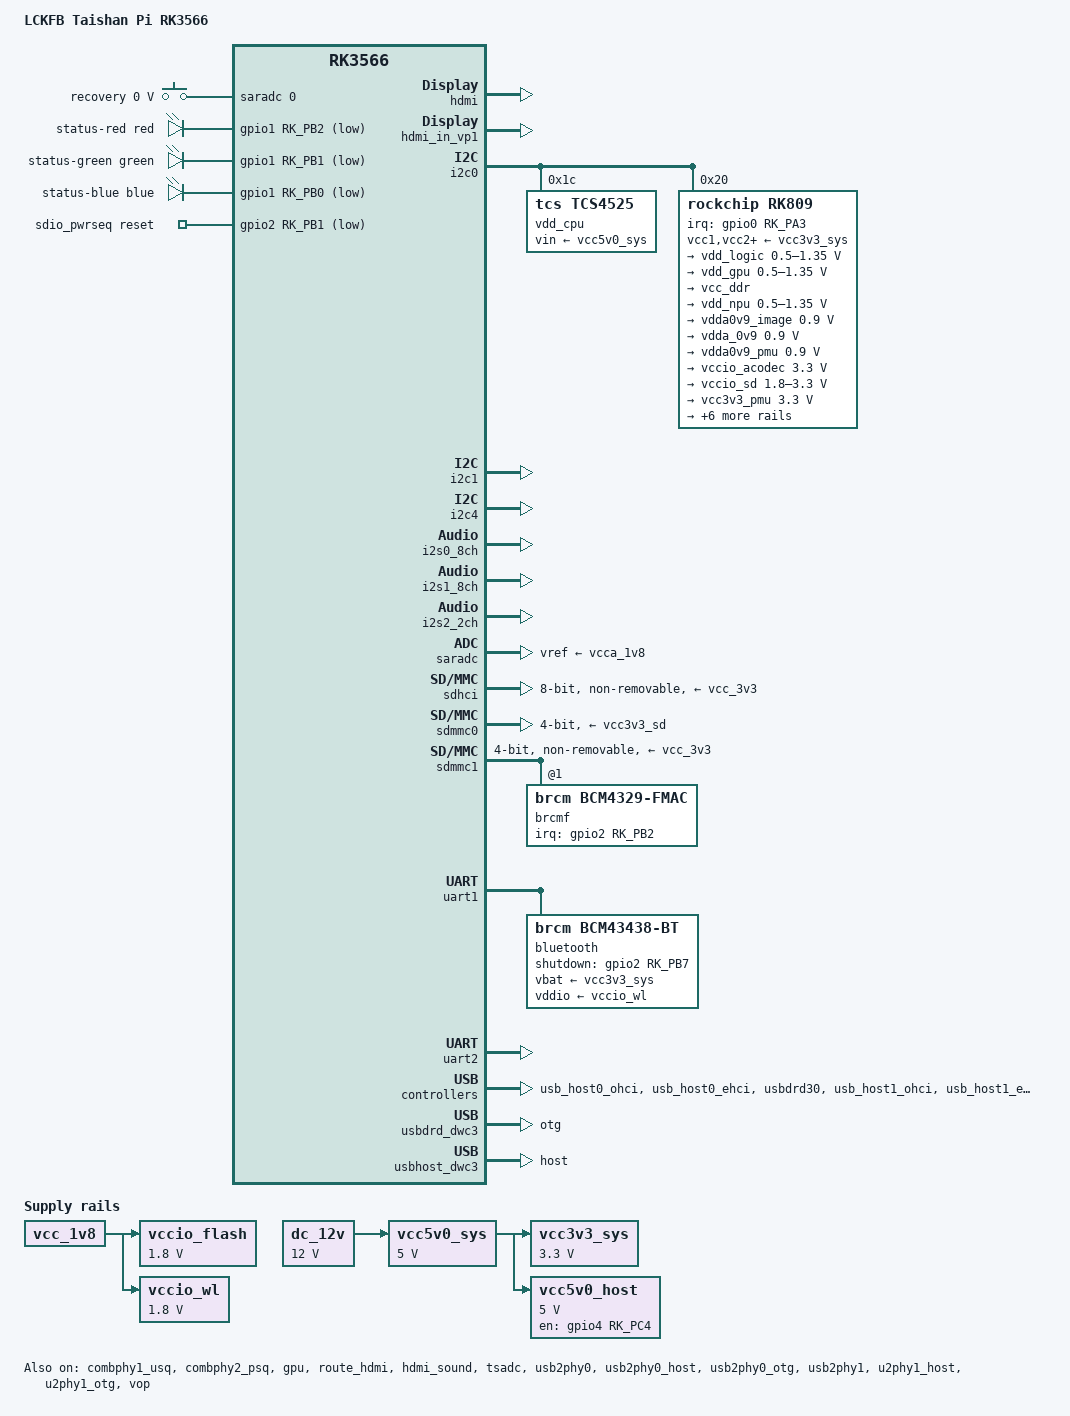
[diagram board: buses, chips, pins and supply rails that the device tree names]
// SPDX-License-Identifier: (GPL-2.0+ OR MIT)
/*
 * LCKFB Taishan Pi RK3566 (立创·泰山派 RK3566)
 *
 * 板级设备树，运行在 rockchip-linux/kernel develop-6.1（厂商内核）之上。
 *
 * 来源与改动说明：
 *   - 板级信息（PMIC/电源域/SD/eMMC/USB/HDMI/AP6212/按键/LED）取自
 *     上游设备树 rk3566-lckfb-tspi.dts（Junhao Xie <bigfoot@classfun.cn>，
 *     已合入 mainline）；
 *   - 为适配厂商 6.1 内核，按厂商 dtsi 的写法改写：combphy1/2 →
 *     combphy1_usq/combphy2_psq，USB3 控制器 → usbdrd30/usbhost30，
 *     HDMI 走厂商的 route_hdmi + hdmi_in_vpN 路由，去掉 mainline 专有的
 *     hdmi-connector 输出端口与 leds-group-multicolor 节点。
 *
 * 未在此文件描述的外设（MIPI-DSI 屏、CSI 摄像头、CAN 等）如需使用，
 * 请从泰山派 RK3566 SDK 的 dts 中取对应片段，或放到
 * vendor/dts/rockchip/device-tree-overlays/ 做 overlay。
 */

/dts-v1/;

#include <dt-bindings/gpio/gpio.h>
#include <dt-bindings/input/input.h>
#include <dt-bindings/leds/common.h>
#include <dt-bindings/pinctrl/rockchip.h>
#include "rk3566.dtsi"

/ {
	model = "LCKFB Taishan Pi RK3566";
	compatible = "lckfb,tspi-rk3566", "rockchip,rk3566";

	aliases {
		mmc0 = &sdmmc0;
		mmc1 = &sdhci;
		mmc2 = &sdmmc1;
	};

	chosen: chosen {
		stdout-path = "serial2:1500000n8";
		/*
		 * U-Boot 通过 FIT 启动时会用自己的 bootargs 覆盖这里；
		 * 保留一份作为兜底，并标明 rootfs 的 GPT PARTUUID
		 * （与 vendor/firmware/parameter.txt、rootfs fstab 一致）。
		 */
		bootargs = "console=ttyFIQ0,1500000n8 earlycon=uart8250,mmio32,0xfe660000 root=PARTUUID=614e0000-0000-4b53-8000-1d28000054a9 rw rootwait";
	};

	reserved-memory {
		#address-cells = <2>;
		#size-cells = <2>;
		ranges;

		ramoops: ramoops@110000 {
			compatible = "ramoops";
			reg = <0 0x110000 0 0xf0000>;
			record-size = <0x20000>;
			console-size = <0x80000>;
			ftrace-size = <0x00000>;
			pmsg-size = <0x50000>;
		};
	};

	sound {
		compatible = "simple-audio-card";
		simple-audio-card,format = "i2s";
		simple-audio-card,name = "Analog RK809";
		simple-audio-card,mclk-fs = <256>;

		simple-audio-card,cpu {
			sound-dai = <&i2s1_8ch>;
		};

		simple-audio-card,codec {
			sound-dai = <&rk809>;
		};
	};

	adc_keys: adc-keys {
		compatible = "adc-keys";
		io-channels = <&saradc 0>;
		io-channel-names = "buttons";
		keyup-threshold-microvolt = <1800000>;
		poll-interval = <100>;

		button-recovery {
			label = "recovery";
			linux,code = <KEY_RESTART>;
			press-threshold-microvolt = <108>;
		};
	};

	leds: leds {
		compatible = "gpio-leds";

		rgb_led_r: rgb-led-r {
			label = "status-red";
			gpios = <&gpio1 RK_PB2 GPIO_ACTIVE_LOW>;
			color = <LED_COLOR_ID_RED>;
			linux,default-trigger = "heartbeat";
		};

		rgb_led_g: rgb-led-g {
			label = "status-green";
			gpios = <&gpio1 RK_PB1 GPIO_ACTIVE_LOW>;
			color = <LED_COLOR_ID_GREEN>;
		};

		rgb_led_b: rgb-led-b {
			label = "status-blue";
			gpios = <&gpio1 RK_PB0 GPIO_ACTIVE_LOW>;
			color = <LED_COLOR_ID_BLUE>;
		};
	};

	sdio_pwrseq: sdio-pwrseq {
		compatible = "mmc-pwrseq-simple";
		clocks = <&rk809 1>;
		clock-names = "ext_clock";
		pinctrl-names = "default";
		pinctrl-0 = <&wifi_enable_h>;
		post-power-on-delay-ms = <200>;
		reset-gpios = <&gpio2 RK_PB1 GPIO_ACTIVE_LOW>;
	};

	dc_12v: regulator-12v0-dcin {
		compatible = "regulator-fixed";
		regulator-name = "dc_12v";
		regulator-always-on;
		regulator-boot-on;
		regulator-min-microvolt = <12000000>;
		regulator-max-microvolt = <12000000>;
	};

	vcc5v0_sys: regulator-5v0-sys {
		compatible = "regulator-fixed";
		regulator-name = "vcc5v0_sys";
		regulator-always-on;
		regulator-boot-on;
		regulator-min-microvolt = <5000000>;
		regulator-max-microvolt = <5000000>;
		vin-supply = <&dc_12v>;
	};

	vcc3v3_sys: regulator-3v3-sys {
		compatible = "regulator-fixed";
		regulator-name = "vcc3v3_sys";
		regulator-always-on;
		regulator-boot-on;
		regulator-min-microvolt = <3300000>;
		regulator-max-microvolt = <3300000>;
		vin-supply = <&vcc5v0_sys>;
	};

	vcc5v0_host: regulator-5v0-host {
		compatible = "regulator-fixed";
		regulator-name = "vcc5v0_host";
		regulator-min-microvolt = <5000000>;
		regulator-max-microvolt = <5000000>;
		enable-active-high;
		gpio = <&gpio4 RK_PC4 GPIO_ACTIVE_HIGH>;
		vin-supply = <&vcc5v0_sys>;
		pinctrl-names = "default";
		pinctrl-0 = <&vcc5v0_host_en>;
	};

	/* eMMC VQMMC：板上经 0R 接 vcc_1v8 */
	vccio_flash: regulator-1v8-flash {
		compatible = "regulator-fixed";
		regulator-name = "vccio_flash";
		regulator-min-microvolt = <1800000>;
		regulator-max-microvolt = <1800000>;
		vin-supply = <&vcc_1v8>;
	};

	/* SDIO WiFi VQMMC：与 eMMC 相同，取自 vcc_1v8 */
	vccio_wl: regulator-1v8-wl {
		compatible = "regulator-fixed";
		regulator-name = "vccio_wl";
		regulator-min-microvolt = <1800000>;
		regulator-max-microvolt = <1800000>;
		vin-supply = <&vcc_1v8>;
	};
};

&combphy1_usq {
	status = "okay";
};

&combphy2_psq {
	status = "okay";
};

&cpu0 {
	cpu-supply = <&vdd_cpu>;
};

&cpu1 {
	cpu-supply = <&vdd_cpu>;
};

&cpu2 {
	cpu-supply = <&vdd_cpu>;
};

&cpu3 {
	cpu-supply = <&vdd_cpu>;
};

&gpu {
	mali-supply = <&vdd_gpu>;
	status = "okay";
};

&hdmi {
	status = "okay";
};

&hdmi_in_vp1 {
	status = "okay";
};

&route_hdmi {
	status = "okay";
};

&hdmi_sound {
	status = "okay";
};

&i2c0 {
	status = "okay";

	vdd_cpu: regulator@1c {
		compatible = "tcs,tcs4525";
		reg = <0x1c>;
		fcs,suspend-voltage-selector = <1>;
		regulator-name = "vdd_cpu";
		regulator-always-on;
		regulator-boot-on;
		regulator-min-microvolt = <800000>;
		regulator-max-microvolt = <1150000>;
		regulator-ramp-delay = <2300>;
		vin-supply = <&vcc5v0_sys>;

		regulator-state-mem {
			regulator-off-in-suspend;
		};
	};

	rk809: pmic@20 {
		compatible = "rockchip,rk809";
		reg = <0x20>;

		interrupt-parent = <&gpio0>;
		interrupts = <RK_PA3 IRQ_TYPE_LEVEL_LOW>;

		#clock-cells = <1>;
		clock-output-names = "rk808-clkout1", "rk808-clkout2";
		clock-names = "mclk";
		clocks = <&cru I2S1_MCLKOUT_TX>;
		assigned-clocks = <&cru I2S1_MCLKOUT_TX>;
		assigned-clock-parents = <&cru CLK_I2S1_8CH_TX>;

		#sound-dai-cells = <0>;

		pinctrl-names = "default";
		pinctrl-0 = <&pmic_int>, <&i2s1m0_mclk>;
		rockchip,system-power-controller;
		wakeup-source;

		vcc1-supply = <&vcc3v3_sys>;
		vcc2-supply = <&vcc3v3_sys>;
		vcc3-supply = <&vcc3v3_sys>;
		vcc4-supply = <&vcc3v3_sys>;
		vcc5-supply = <&vcc3v3_sys>;
		vcc6-supply = <&vcc3v3_sys>;
		vcc7-supply = <&vcc3v3_sys>;
		vcc8-supply = <&vcc3v3_sys>;
		vcc9-supply = <&vcc3v3_sys>;

		regulators {
			vdd_logic: DCDC_REG1 {
				regulator-always-on;
				regulator-boot-on;
				regulator-min-microvolt = <500000>;
				regulator-max-microvolt = <1350000>;
				regulator-ramp-delay = <6001>;
				regulator-initial-mode = <0x2>;
				regulator-name = "vdd_logic";
				regulator-state-mem {
					regulator-off-in-suspend;
				};
			};

			vdd_gpu: DCDC_REG2 {
				regulator-always-on;
				regulator-boot-on;
				regulator-min-microvolt = <500000>;
				regulator-max-microvolt = <1350000>;
				regulator-ramp-delay = <6001>;
				regulator-initial-mode = <0x2>;
				regulator-name = "vdd_gpu";
				regulator-state-mem {
					regulator-off-in-suspend;
				};
			};

			vcc_ddr: DCDC_REG3 {
				regulator-always-on;
				regulator-boot-on;
				regulator-initial-mode = <0x2>;
				regulator-name = "vcc_ddr";
				regulator-state-mem {
					regulator-on-in-suspend;
				};
			};

			vdd_npu: DCDC_REG4 {
				regulator-always-on;
				regulator-boot-on;
				regulator-min-microvolt = <500000>;
				regulator-max-microvolt = <1350000>;
				regulator-ramp-delay = <6001>;
				regulator-initial-mode = <0x2>;
				regulator-name = "vdd_npu";
				regulator-state-mem {
					regulator-off-in-suspend;
				};
			};

			vdda0v9_image: LDO_REG1 {
				regulator-boot-on;
				regulator-always-on;
				regulator-min-microvolt = <900000>;
				regulator-max-microvolt = <900000>;
				regulator-name = "vdda0v9_image";
				regulator-state-mem {
					regulator-off-in-suspend;
				};
			};

			vdda_0v9: LDO_REG2 {
				regulator-always-on;
				regulator-boot-on;
				regulator-min-microvolt = <900000>;
				regulator-max-microvolt = <900000>;
				regulator-name = "vdda_0v9";
				regulator-state-mem {
					regulator-off-in-suspend;
				};
			};

			vdda0v9_pmu: LDO_REG3 {
				regulator-always-on;
				regulator-boot-on;
				regulator-min-microvolt = <900000>;
				regulator-max-microvolt = <900000>;
				regulator-name = "vdda0v9_pmu";
				regulator-state-mem {
					regulator-on-in-suspend;
					regulator-suspend-microvolt = <900000>;
				};
			};

			vccio_acodec: LDO_REG4 {
				regulator-always-on;
				regulator-boot-on;
				regulator-min-microvolt = <3300000>;
				regulator-max-microvolt = <3300000>;
				regulator-name = "vccio_acodec";
				regulator-state-mem {
					regulator-off-in-suspend;
				};
			};

			vccio_sd: LDO_REG5 {
				regulator-always-on;
				regulator-boot-on;
				regulator-min-microvolt = <1800000>;
				regulator-max-microvolt = <3300000>;
				regulator-name = "vccio_sd";
				regulator-state-mem {
					regulator-off-in-suspend;
				};
			};

			vcc3v3_pmu: LDO_REG6 {
				regulator-always-on;
				regulator-boot-on;
				regulator-min-microvolt = <3300000>;
				regulator-max-microvolt = <3300000>;
				regulator-name = "vcc3v3_pmu";
				regulator-state-mem {
					regulator-on-in-suspend;
					regulator-suspend-microvolt = <3300000>;
				};
			};

			vcca_1v8: LDO_REG7 {
				regulator-always-on;
				regulator-boot-on;
				regulator-min-microvolt = <1800000>;
				regulator-max-microvolt = <1800000>;
				regulator-name = "vcca_1v8";
				regulator-state-mem {
					regulator-off-in-suspend;
				};
			};

			vcca1v8_pmu: LDO_REG8 {
				regulator-always-on;
				regulator-boot-on;
				regulator-min-microvolt = <1800000>;
				regulator-max-microvolt = <1800000>;
				regulator-name = "vcca1v8_pmu";
				regulator-state-mem {
					regulator-on-in-suspend;
					regulator-suspend-microvolt = <1800000>;
				};
			};

			vcca1v8_image: LDO_REG9 {
				regulator-always-on;
				regulator-boot-on;
				regulator-min-microvolt = <1800000>;
				regulator-max-microvolt = <1800000>;
				regulator-name = "vcca1v8_image";
				regulator-state-mem {
					regulator-off-in-suspend;
				};
			};

			vcc_1v8: DCDC_REG5 {
				regulator-always-on;
				regulator-boot-on;
				regulator-min-microvolt = <1800000>;
				regulator-max-microvolt = <1800000>;
				regulator-name = "vcc_1v8";
				regulator-state-mem {
					regulator-off-in-suspend;
				};
			};

			vcc_3v3: SWITCH_REG1 {
				regulator-always-on;
				regulator-boot-on;
				regulator-name = "vcc_3v3";
				regulator-state-mem {
					regulator-off-in-suspend;
				};
			};

			vcc3v3_sd: SWITCH_REG2 {
				regulator-always-on;
				regulator-boot-on;
				regulator-name = "vcc3v3_sd";
				regulator-state-mem {
					regulator-off-in-suspend;
				};
			};
		};

		codec {
			rockchip,mic-in-differential;
		};
	};
};

&i2c1 {
	status = "okay";
	/* 触摸屏 */
};

&i2c4 {
	pinctrl-names = "default";
	pinctrl-0 = <&i2c4m0_xfer>;
	status = "okay";
	/* 摄像头 */
};

&i2s0_8ch {
	status = "okay";
	/* HDMI */
};

&i2s1_8ch {
	pinctrl-names = "default";
	pinctrl-0 = <&i2s1m0_sclktx &i2s1m0_lrcktx &i2s1m0_sdi0 &i2s1m0_sdo0>;
	rockchip,trcm-sync-tx-only;
	status = "okay";
	/* PMIC 音频 */
};

&i2s2_2ch {
	rockchip,trcm-sync-tx-only;
	status = "okay";
	/* AP6212 蓝牙 PCM */
};

&pinctrl {
	bt {
		bt_enable_h: bt-enable-h {
			rockchip,pins = <2 RK_PB7 RK_FUNC_GPIO &pcfg_pull_none>;
		};

		bt_host_wake_l: bt-host-wake-l {
			rockchip,pins = <2 RK_PC0 RK_FUNC_GPIO &pcfg_pull_down>;
		};

		bt_wake_l: bt-wake-l {
			rockchip,pins = <2 RK_PC1 RK_FUNC_GPIO &pcfg_pull_none>;
		};
	};

	sdio-pwrseq {
		wifi_enable_h: wifi-enable-h {
			rockchip,pins = <2 RK_PB1 RK_FUNC_GPIO &pcfg_pull_none>;
		};

		wifi_host_wake_h: wifi-host-wake-h {
			rockchip,pins = <2 RK_PB2 RK_FUNC_GPIO &pcfg_pull_none>;
		};
	};

	hp-detect {
		hp_det: hp-det {
			rockchip,pins = <4 RK_PC6 RK_FUNC_GPIO &pcfg_pull_up>;
		};
	};

	pmic {
		pmic_int: pmic-int {
			rockchip,pins = <0 RK_PA3 RK_FUNC_GPIO &pcfg_pull_up>;
		};
	};

	usb2 {
		vcc5v0_host_en: vcc5v0-host-en {
			rockchip,pins = <4 RK_PC4 RK_FUNC_GPIO &pcfg_pull_none>;
		};
	};
};

&pmu_io_domains {
	pmuio1-supply = <&vcc3v3_pmu>;
	pmuio2-supply = <&vcc3v3_pmu>;
	vccio1-supply = <&vccio_acodec>;
	vccio2-supply = <&vccio_flash>;
	vccio3-supply = <&vccio_sd>;
	vccio4-supply = <&vccio_wl>;
	vccio5-supply = <&vcc_3v3>;
	vccio6-supply = <&vcc_1v8>;
	vccio7-supply = <&vcc_3v3>;
	status = "okay";
};

&saradc {
	vref-supply = <&vcca_1v8>;
	status = "okay";
	/* 通道 0：recovery 按键；通道 1：硬件版本 */
};

&sdhci {
	bus-width = <8>;
	max-frequency = <200000000>;
	non-removable;
	pinctrl-names = "default";
	pinctrl-0 = <&emmc_bus8 &emmc_clk &emmc_cmd &emmc_datastrobe &emmc_rstnout>;
	vmmc-supply = <&vcc_3v3>;
	vqmmc-supply = <&vccio_flash>;
	status = "okay";
};

&sdmmc0 {
	bus-width = <4>;
	cap-mmc-highspeed;
	cap-sd-highspeed;
	disable-wp;
	max-frequency = <150000000>;
	pinctrl-names = "default";
	pinctrl-0 = <&sdmmc0_bus4 &sdmmc0_clk &sdmmc0_cmd &sdmmc0_det>;
	sd-uhs-sdr104;
	vmmc-supply = <&vcc3v3_sd>;
	vqmmc-supply = <&vccio_sd>;
	status = "okay";
};

&sdmmc1 {
	bus-width = <4>;
	cap-sd-highspeed;
	cap-sdio-irq;
	disable-wp;
	keep-power-in-suspend;
	max-frequency = <150000000>;
	mmc-pwrseq = <&sdio_pwrseq>;
	non-removable;
	pinctrl-names = "default";
	pinctrl-0 = <&sdmmc1_bus4 &sdmmc1_cmd &sdmmc1_clk>;
	sd-uhs-sdr104;
	vmmc-supply = <&vcc_3v3>;
	vqmmc-supply = <&vccio_wl>;
	#address-cells = <1>;
	#size-cells = <0>;
	status = "okay";

	brcmf: wifi@1 {
		compatible = "brcm,bcm4329-fmac";
		reg = <1>;
		interrupt-parent = <&gpio2>;
		interrupts = <RK_PB2 IRQ_TYPE_LEVEL_HIGH>;
		interrupt-names = "host-wake";
		pinctrl-names = "default";
		pinctrl-0 = <&wifi_host_wake_h>;
	};
};

&tsadc {
	rockchip,hw-tshut-mode = <1>;
	rockchip,hw-tshut-polarity = <0>;
	status = "okay";
};

&uart1 {
	pinctrl-names = "default";
	pinctrl-0 = <&uart1m0_xfer &uart1m0_ctsn &uart1m0_rtsn>;
	uart-has-rtscts;
	status = "okay";

	bluetooth: bluetooth {
		compatible = "brcm,bcm43438-bt";
		clocks = <&rk809 1>;
		clock-names = "lpo";
		max-speed = <3000000>;
		pinctrl-names = "default";
		pinctrl-0 = <&bt_host_wake_l &bt_wake_l &bt_enable_h>;
		shutdown-gpios = <&gpio2 RK_PB7 GPIO_ACTIVE_HIGH>;
		vbat-supply = <&vcc3v3_sys>;
		vddio-supply = <&vccio_wl>;
	};
};

&uart2 {
	pinctrl-names = "default";
	pinctrl-0 = <&uart2m0_xfer>;
	status = "okay";
};

&usb_host0_ohci {
	status = "okay";
};

&usb_host0_ehci {
	status = "okay";
};

&usbdrd30 {
	status = "okay";
};

&usbdrd_dwc3 {
	dr_mode = "otg";
	status = "okay";
};

&usb_host1_ohci {
	status = "okay";
};

&usb_host1_ehci {
	status = "okay";
};

&usbhost30 {
	status = "okay";
};

&usbhost_dwc3 {
	dr_mode = "host";
	status = "okay";
};

&usb2phy0 {
	status = "okay";
};

&usb2phy0_host {
	phy-supply = <&vcc5v0_sys>;
	status = "okay";
};

&usb2phy0_otg {
	phy-supply = <&vcc5v0_sys>;
	status = "okay";
};

&usb2phy1 {
	status = "okay";
};

&u2phy1_host {
	phy-supply = <&vcc5v0_host>;
	status = "okay";
};

&u2phy1_otg {
	phy-supply = <&vcc5v0_host>;
	status = "okay";
};

&vop {
	status = "okay";
};

&vop_mmu {
	status = "okay";
};
